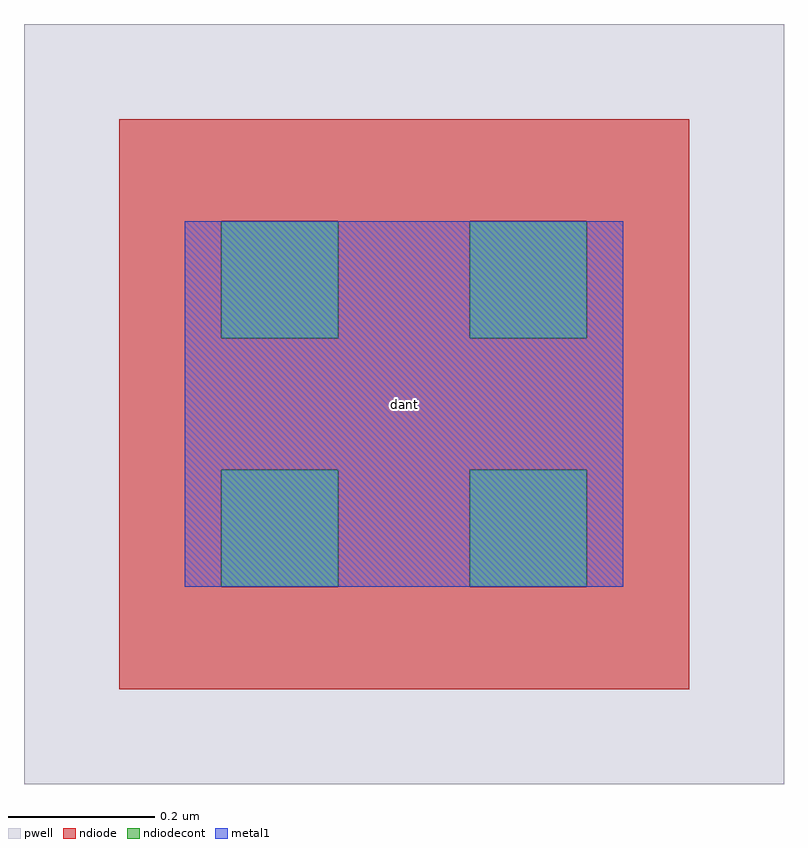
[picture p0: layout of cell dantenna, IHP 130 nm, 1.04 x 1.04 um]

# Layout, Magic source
magic
tech ihp-sg13g2
<< pwell >>
rect -13 -13 91 91
<< ndiode >>
rect 0 64 78 78
rect 0 48 14 64
rect 30 48 48 64
rect 64 48 78 64
rect 0 30 78 48
rect 0 14 14 30
rect 30 14 48 30
rect 64 14 78 30
rect 0 0 78 14
<< ndiodecont >>
rect 14 48 30 64
rect 48 48 64 64
rect 14 14 30 30
rect 48 14 64 30
<< metal1 >>
rect 9 14 69 64
<< labels >>
flabel comment s 39 39 39 39 0 FreeSans 200 0 0 0 dant
<< end >>
